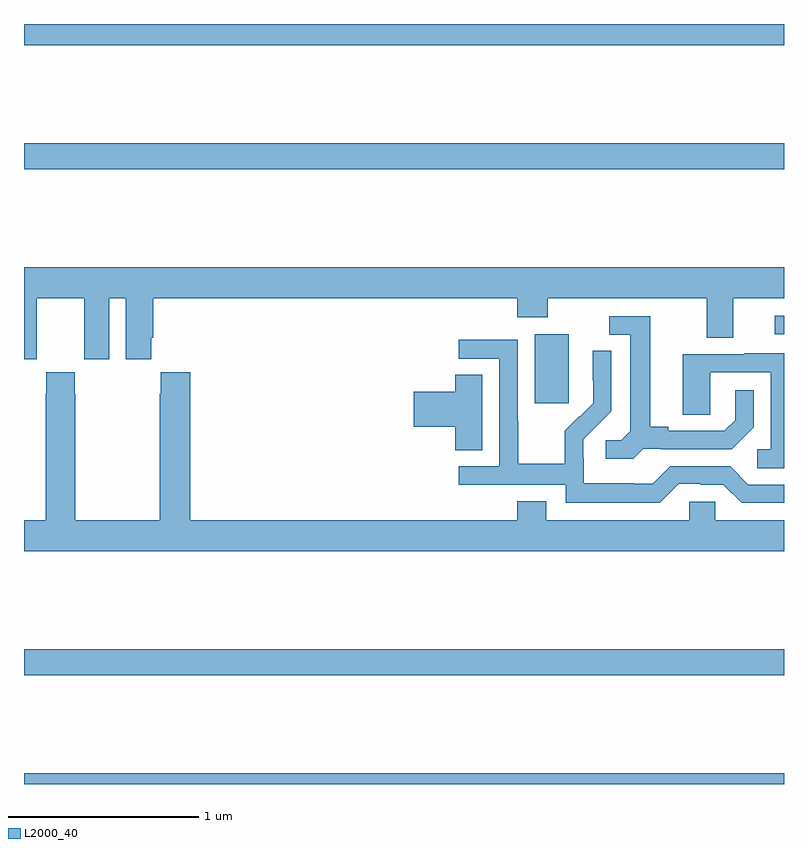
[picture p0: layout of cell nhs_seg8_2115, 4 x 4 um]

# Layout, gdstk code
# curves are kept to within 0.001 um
import gdstk
lib = gdstk.Library(unit=1e-6, precision=1e-09)
def R(c, l, rs):  # rectangles x0, y0, x1, y1
    for r in rs: c.add(gdstk.rectangle(r[:2], r[2:], *l))
def P(c, l, *ps):  # polygons
    for p in ps: c.add(gdstk.Polygon(p, *l))
L2000_40 = (2000, 40)

nhs_seg8_2115 = lib.new_cell('nhs_seg8_2115')
R(nhs_seg8_2115, L2000_40, [(243,1157.9,247,1157.956), (243,1158.472,247,1158.608), (245.687,1159.905,245.866,1160.266), (246.951,1160.268,247,1160.364), (243,1161.136,247,1161.272), (243,1161.788,247,1161.9)])
P(nhs_seg8_2115, L2000_40, [(243.066,1160.248),(243.067,1160.248),(243.067,1160.456),(243.317,1160.456),(243.317,1160.248),(243.318,1160.248),(243.318,1160.136),(243.448,1160.136),(243.448,1160.456),(243.536,1160.456),(243.536,1160.136),(243.67,1160.136),(243.67,1160.248),(243.68,1160.248),(243.68,1160.456),(245.597,1160.456),(245.597,1160.357),(245.757,1160.357),(245.757,1160.456),(246.593,1160.456),(246.593,1160.248),(246.733,1160.248),(246.733,1160.456),(247,1160.456),(247,1160.62),(243,1160.62),(243,1160.136),(243.066,1160.136)],
  [(246.258,1159.665),(246.352,1159.665),(246.352,1159.662),(246.724,1159.662),(246.84,1159.778),(246.84,1159.972),(246.743,1159.972),(246.743,1159.815),(246.686,1159.758),(246.391,1159.758),(246.391,1159.781),(246.295,1159.781),(246.295,1160.361),(246.081,1160.361),(246.081,1160.265),(246.191,1160.265),(246.191,1159.757),(246.144,1159.71),(246.063,1159.71),(246.063,1159.613),(246.206,1159.613)],
  [(246.447,1159.479),(246.563,1159.479),(246.563,1159.476),(246.681,1159.476),(246.777,1159.38),(247,1159.38),(247,1159.476),(246.813,1159.476),(246.717,1159.572),(246.402,1159.572),(246.309,1159.479),(246.209,1159.479),(246.209,1159.483),(245.946,1159.483),(245.946,1159.617),(245.944,1159.617),(245.944,1159.714),(246.09,1159.862),(246.09,1160.18),(245.994,1160.18),(245.994,1160.026),(245.996,1160.026),(245.996,1159.904),(245.925,1159.833),(245.922,1159.836),(245.845,1159.759),(245.845,1159.585),(245.601,1159.585),(245.601,1159.808),(245.598,1159.808),(245.598,1160.238),(245.289,1160.238),(245.289,1160.139),(245.502,1160.139),(245.502,1159.572),(245.289,1159.572),(245.289,1159.476),(245.85,1159.476),(245.85,1159.379),(246.347,1159.379)],
  [(247,1160.167),(246.791,1160.167),(246.791,1160.163),(246.467,1160.163),(246.467,1159.843),(246.612,1159.843),(246.612,1160.067),(246.93,1160.067),(246.93,1159.662),(246.858,1159.662),(246.858,1159.561),(247,1159.561)],
  [(247,1159.288),(246.639,1159.288),(246.639,1159.386),(246.501,1159.386),(246.501,1159.288),(245.749,1159.288),(245.749,1159.387),(245.597,1159.387),(245.597,1159.288),(243.875,1159.288),(243.875,1160.068),(243.721,1160.068),(243.721,1159.955),(243.715,1159.955),(243.715,1159.288),(243.27,1159.288),(243.27,1159.955),(243.267,1159.955),(243.267,1160.068),(243.117,1160.068),(243.117,1159.955),(243.115,1159.955),(243.115,1159.288),(243,1159.288),(243,1159.124),(247,1159.124)],
  [(245.413,1160.054),(245.27,1160.054),(245.27,1159.964),(245.052,1159.964),(245.052,1159.781),(245.27,1159.781),(245.27,1159.657),(245.413,1159.657)])

lib.write_gds('nhs_seg8_2115.gds')
